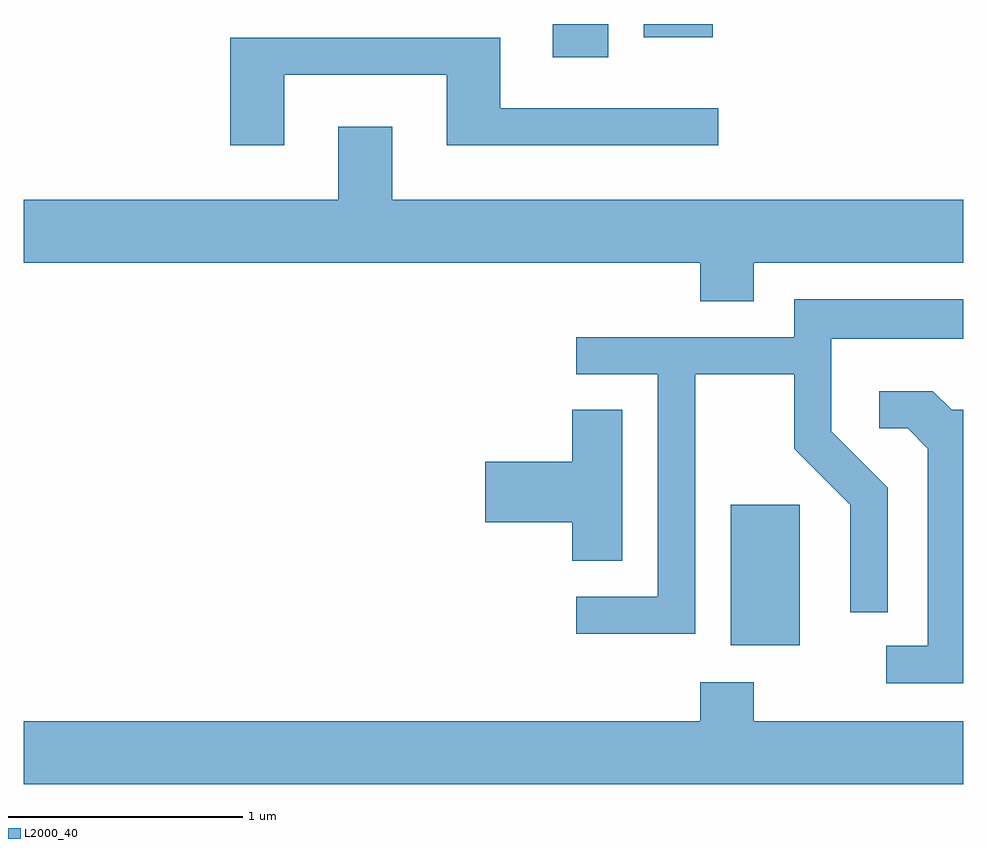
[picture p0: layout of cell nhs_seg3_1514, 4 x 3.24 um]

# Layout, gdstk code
import gdstk
lib = gdstk.Library(unit=1e-6, precision=1e-09)
def R(c, l, rs):  # rectangles x0, y0, x1, y1
    for r in rs: c.add(gdstk.rectangle(r[:2], r[2:], *l))
def P(c, l, *ps):  # polygons
    for p in ps: c.add(gdstk.Polygon(p, *l))
L2000_40 = (2000, 40)

nhs_seg3_1514 = lib.new_cell('nhs_seg3_1514')
R(nhs_seg3_1514, L2000_40, [(232.621,1153.246,232.914,1153.844), (231.863,1155.751,232.099,1155.892), (232.251,1155.836,232.544,1155.892)])
P(nhs_seg3_1514, L2000_40, [(230.719,1155.676),(231.411,1155.676),(231.411,1155.376),(232.568,1155.376),(232.568,1155.534),(231.639,1155.534),(231.639,1155.834),(230.491,1155.834),(230.491,1155.376),(230.719,1155.376)],
  [(232.719,1154.876),(233.611,1154.876),(233.611,1155.144),(231.179,1155.144),(231.179,1155.454),(230.951,1155.454),(230.951,1155.144),(229.611,1155.144),(229.611,1154.876),(232.491,1154.876),(232.491,1154.711),(232.719,1154.711)],
  [(232.469,1154.401),(232.891,1154.401),(232.891,1154.084),(233.131,1153.844),(233.131,1153.388),(233.289,1153.388),(233.289,1153.917),(233.049,1154.157),(233.049,1154.551),(233.611,1154.551),(233.611,1154.719),(232.891,1154.719),(232.891,1154.559),(231.963,1154.559),(231.963,1154.401),(232.311,1154.401),(232.311,1153.454),(231.963,1153.454),(231.963,1153.296),(232.469,1153.296)],
  [(233.611,1154.249),(233.562,1154.249),(233.482,1154.329),(233.253,1154.329),(233.253,1154.171),(233.374,1154.171),(233.461,1154.084),(233.461,1153.244),(233.283,1153.244),(233.283,1153.086),(233.611,1153.086)],
  [(232.159,1154.249),(231.946,1154.249),(231.946,1154.029),(231.576,1154.029),(231.576,1153.771),(231.946,1153.771),(231.946,1153.606),(232.159,1153.606)],
  [(233.611,1152.924),(232.719,1152.924),(232.719,1153.089),(232.491,1153.089),(232.491,1152.924),(229.611,1152.924),(229.611,1152.656),(233.611,1152.656)])

lib.write_gds('nhs_seg3_1514.gds')
